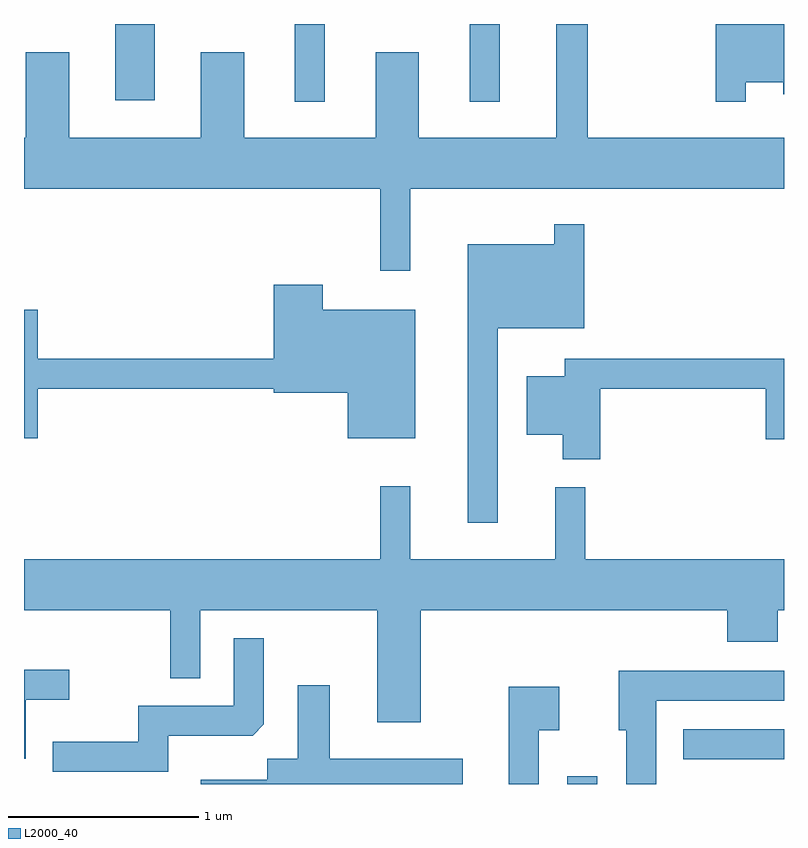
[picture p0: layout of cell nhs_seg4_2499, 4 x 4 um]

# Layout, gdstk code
import gdstk
lib = gdstk.Library(unit=1e-6, precision=1e-09)
def R(c, l, rs):  # rectangles x0, y0, x1, y1
    for r in rs: c.add(gdstk.rectangle(r[:2], r[2:], *l))
def P(c, l, *ps):  # polygons
    for p in ps: c.add(gdstk.Polygon(p, *l))
L2000_40 = (2000, 40)

nhs_seg4_2499 = lib.new_cell('nhs_seg4_2499')
R(nhs_seg4_2499, L2000_40, [(260.471,1355.982,260.629,1356.023), (261.082,1356.111,261.611,1356.269), (259.036,1359.573,259.194,1359.982), (259.956,1359.573,260.114,1359.982), (258.091,1359.581,258.299,1359.982)])
P(nhs_seg4_2499, L2000_40, [(259.644,1359.116),(261.611,1359.116),(261.611,1359.384),(260.579,1359.384),(260.579,1359.982),(260.411,1359.982),(260.411,1359.384),(259.689,1359.384),(259.689,1359.834),(259.461,1359.834),(259.461,1359.384),(258.769,1359.384),(258.769,1359.834),(258.541,1359.834),(258.541,1359.384),(257.849,1359.384),(257.849,1359.834),(257.621,1359.834),(257.621,1359.384),(257.611,1359.384),(257.611,1359.116),(259.486,1359.116),(259.486,1358.683),(259.644,1358.683)],
  [(261.409,1359.676),(261.606,1359.676),(261.606,1359.611),(261.611,1359.611),(261.611,1359.982),(261.251,1359.982),(261.251,1359.573),(261.409,1359.573)],
  [(260.104,1358.381),(260.559,1358.381),(260.559,1358.928),(260.401,1358.928),(260.401,1358.824),(259.946,1358.824),(259.946,1357.358),(260.104,1357.358)],
  [(257.684,1358.061),(258.926,1358.061),(258.926,1358.041),(259.316,1358.041),(259.316,1357.801),(259.669,1357.801),(259.669,1358.479),(259.184,1358.479),(259.184,1358.609),(258.926,1358.609),(258.926,1358.219),(257.684,1358.219),(257.684,1358.479),(257.611,1358.479),(257.611,1357.801),(257.684,1357.801)],
  [(260.644,1358.061),(261.516,1358.061),(261.516,1357.796),(261.611,1357.796),(261.611,1358.219),(260.456,1358.219),(260.456,1358.129),(260.256,1358.129),(260.256,1357.821),(260.446,1357.821),(260.446,1357.691),(260.644,1357.691)],
  [(259.699,1356.896),(261.311,1356.896),(261.311,1356.731),(261.579,1356.731),(261.579,1356.896),(261.611,1356.896),(261.611,1357.164),(260.564,1357.164),(260.564,1357.543),(260.406,1357.543),(260.406,1357.164),(259.644,1357.164),(259.644,1357.548),(259.486,1357.548),(259.486,1357.164),(257.611,1357.164),(257.611,1356.896),(258.381,1356.896),(258.381,1356.538),(258.539,1356.538),(258.539,1356.896),(259.471,1356.896),(259.471,1356.306),(259.699,1356.306)],
  [(258.369,1356.236),(258.814,1356.236),(258.874,1356.297),(258.874,1356.748),(258.716,1356.748),(258.716,1356.394),(258.211,1356.394),(258.211,1356.204),(257.763,1356.204),(257.763,1356.046),(258.369,1356.046)],
  [(257.619,1356.426),(257.848,1356.426),(257.848,1356.584),(257.611,1356.584),(257.611,1356.116),(257.619,1356.116)],
  [(260.939,1356.421),(261.611,1356.421),(261.611,1356.579),(260.741,1356.579),(260.741,1356.266),(260.781,1356.266),(260.781,1355.982),(260.939,1355.982)],
  [(259.919,1356.114),(259.219,1356.114),(259.219,1356.503),(259.051,1356.503),(259.051,1356.114),(258.891,1356.114),(258.891,1356.004),(258.541,1356.004),(258.541,1355.982),(259.919,1355.982)],
  [(260.319,1356.266),(260.429,1356.266),(260.429,1356.494),(260.161,1356.494),(260.161,1355.982),(260.319,1355.982)])

lib.write_gds('nhs_seg4_2499.gds')
